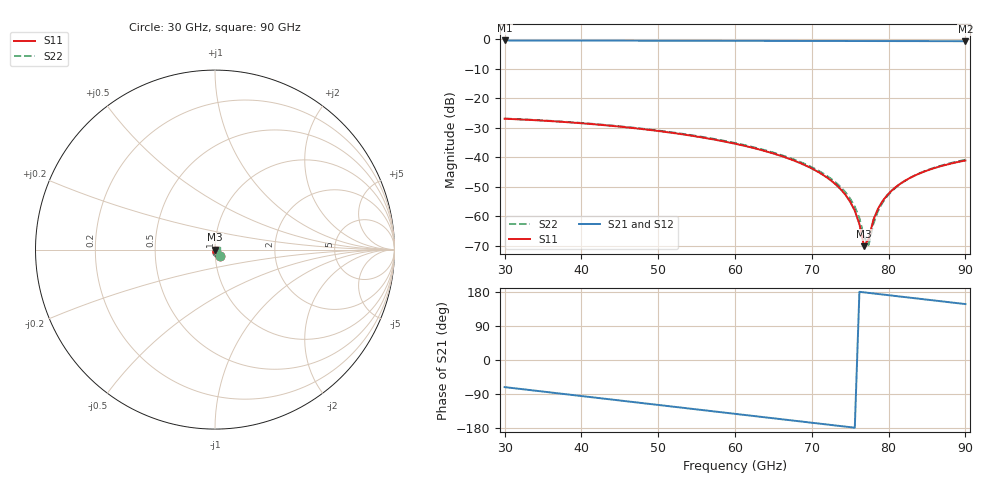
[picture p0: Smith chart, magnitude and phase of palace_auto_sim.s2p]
#  GHZ S DB R 50
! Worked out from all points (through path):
!   101 points, 30 GHz to 90 GHz, reference 50 ohm
!   highest |S21| = -0.51 dB at 30 GHz (marker M1); lowest = -0.8 dB at 90 GHz (marker M2)
!   group delay of S21, straight-line fit = 6.52 ps
!   lowest |S11| = -70.1 dB at 76.8 GHz (marker M3), VSWR 1.00, Z = 50 - j0.0288 ohm
!   |S11| at or under -10 dB: start of sweep to end of sweep
!   |S22| runs from -69.6 to -26.9 dB; largest |S21 - S12| = 1.1e-14
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30  -26.99 -53.7  -0.51 -71.5  -0.51 -71.5  -26.94 -53.9
35.4  -27.70 -66.8  -0.54 -84.2  -0.54 -84.2  -27.62 -67.0
40.2  -28.56 -78.4  -0.56 -95.5  -0.56 -95.5  -28.47 -78.6
50.4  -31.27 -103.1  -0.60 -119.5  -0.60 -119.5  -31.12 -103.4
60  -35.44 -126.2  -0.64 -142.1  -0.64 -142.1  -35.21 -126.5
66  -39.58 -140.3  -0.66 -156.2  -0.66 -156.2  -39.27 -140.6
70.2  -44.10 -149.5  -0.68 -166.0  -0.68 -166.0  -43.66 -149.9
73.2  -49.41 -154.8  -0.69 -173.1  -0.69 -173.1  -48.77 -155.2
74.4  -52.79 -155.6  -0.70 -175.9  -0.70 -175.9  -51.95 -156.1
75  -55.09 -155.1  -0.70 -177.3  -0.70 -177.3  -54.07 -155.8
75.6  -58.13 -153.0  -0.70 -178.7  -0.70 -178.7  -56.81 -154.1
76.2  -62.63 -146.1  -0.70 179.9  -0.70 179.9  -60.69 -149.0
76.8  -70.10 -113.0  -0.71 178.5  -0.71 178.5  -66.91 -129.5
77.4  -67.69 -27.5  -0.71 177.1  -0.71 177.1  -69.65 -49.0
78  -61.32 -8.0  -0.71 175.7  -0.71 175.7  -62.65 -13.8
78.6  -57.51 -3.1  -0.71 174.3  -0.71 174.3  -58.29 -6.1
79.2  -54.88 -1.7  -0.72 172.9  -0.72 172.9  -55.38 -3.6
80.4  -51.29 -1.7  -0.72 170.1  -0.72 170.1  -51.51 -3.0
82.2  -47.85 -4.2  -0.73 165.8  -0.73 165.8  -47.89 -5.2
84  -45.53 -7.6  -0.74 161.6  -0.74 161.6  -45.47 -8.5
86.4  -43.34 -12.6  -0.74 156.0  -0.74 156.0  -43.19 -13.4
90  -41.12 -20.4  -0.76 147.6  -0.76 147.6  -40.89 -21.2
